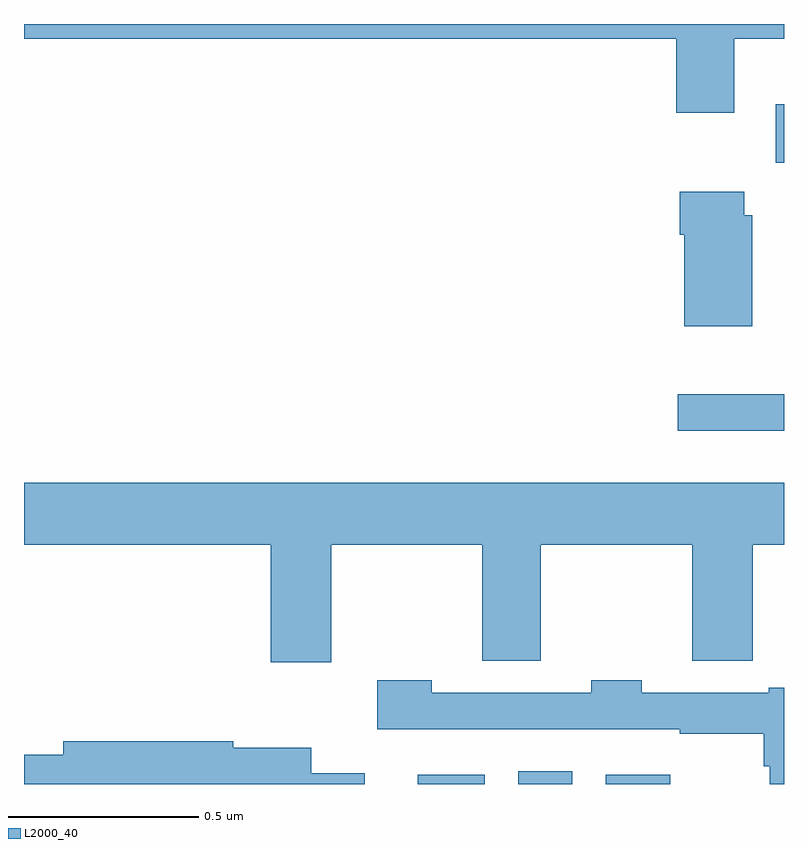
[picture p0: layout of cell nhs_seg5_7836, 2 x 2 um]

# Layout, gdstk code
import gdstk
lib = gdstk.Library(unit=1e-6, precision=1e-09)
def R(c, l, rs):  # rectangles x0, y0, x1, y1
    for r in rs: c.add(gdstk.rectangle(r[:2], r[2:], *l))
def P(c, l, *ps):  # polygons
    for p in ps: c.add(gdstk.Polygon(p, *l))
L2000_40 = (2000, 40)

nhs_seg5_7836 = lib.new_cell('nhs_seg5_7836')
R(nhs_seg5_7836, L2000_40, [(215.036,854.799,215.212,854.824), (215.3,854.799,215.443,854.833), (215.531,854.799,215.701,854.824), (215.721,855.728,216,855.825), (215.978,856.434,216,856.588)])
P(nhs_seg5_7836, L2000_40, [(215.869,856.76),(216,856.76),(216,856.799),(214,856.799),(214,856.76),(215.717,856.76),(215.717,856.566),(215.869,856.566)],
  [(215.917,856.296),(215.896,856.296),(215.896,856.357),(215.726,856.357),(215.726,856.244),(215.738,856.244),(215.738,856.004),(215.917,856.004)],
  [(214.809,855.428),(215.206,855.428),(215.206,855.124),(215.36,855.124),(215.36,855.428),(215.758,855.428),(215.758,855.124),(215.918,855.124),(215.918,855.428),(216,855.428),(216,855.592),(214,855.592),(214,855.428),(214.649,855.428),(214.649,855.12),(214.809,855.12)],
  [(216,855.052),(215.96,855.052),(215.96,855.039),(215.625,855.039),(215.625,855.072),(215.493,855.072),(215.493,855.039),(215.073,855.039),(215.073,855.072),(214.929,855.072),(214.929,854.943),(215.725,854.943),(215.725,854.931),(215.947,854.931),(215.947,854.846),(215.962,854.846),(215.962,854.799),(216,854.799)],
  [(214.897,854.827),(214.756,854.827),(214.756,854.895),(214.55,854.895),(214.55,854.912),(214.103,854.912),(214.103,854.876),(214,854.876),(214,854.799),(214.897,854.799)])

lib.write_gds('nhs_seg5_7836.gds')
